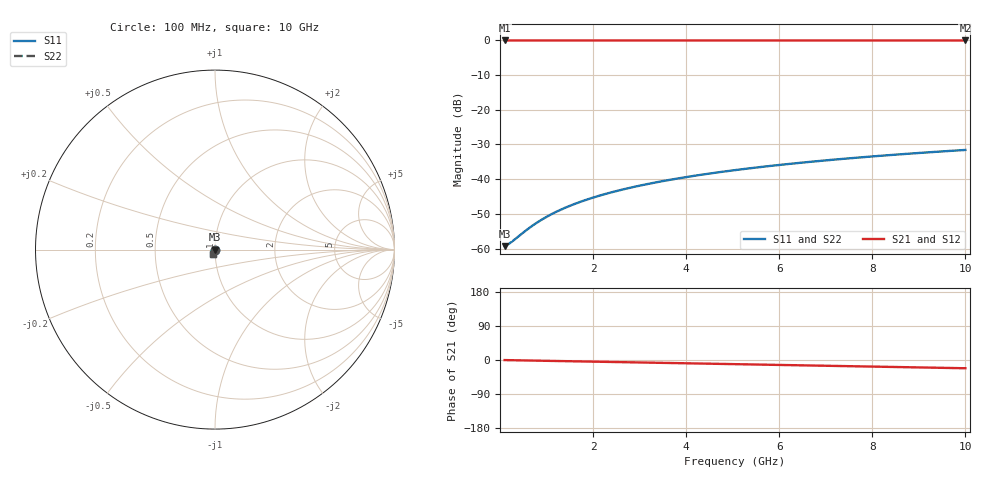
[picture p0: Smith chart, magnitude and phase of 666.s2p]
# Hz S RI R 50.00
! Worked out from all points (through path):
!   100 points, 100 MHz to 10 GHz, reference 50 ohm
!   highest |S21| = -0.01 dB at 100 MHz (marker M1); lowest = 0.0 dB at 10 GHz (marker M2)
!   group delay of S21, straight-line fit = 6.05 ps
!   lowest |S11| = -59.3 dB at 100 MHz (marker M3), VSWR 1.00, Z = 50.1 - j0.027 ohm
!   |S11| at or under -10 dB: start of sweep to end of sweep
!   |S22| runs from -59.3 to -31.6 dB; largest |S21 - S12| = 0
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1e8  0.00105 -0.000269  0.9989 -0.00377  0.9989 -0.00377  0.00105 -0.000269
2e8  0.00105 -0.000539  0.9989 -0.00754  0.9989 -0.00754  0.00105 -0.000539
3e8  0.00105 -0.000808  0.9989 -0.0113  0.9989 -0.0113  0.00105 -0.000808
6e8  0.00103 -0.00162  0.9987 -0.0226  0.9987 -0.0226  0.00103 -0.00162
7e8  0.00101 -0.00189  0.9986 -0.0264  0.9986 -0.0264  0.00101 -0.00189
8e8  0.001 -0.00215  0.9984 -0.0302  0.9984 -0.0302  0.001 -0.00215
1e9  0.000965 -0.00269  0.9982 -0.0377  0.9982 -0.0377  0.000965 -0.00269
1.2e9  0.000921 -0.00323  0.9979 -0.0452  0.9979 -0.0452  0.000921 -0.00323
1.4e9  0.000869 -0.00377  0.9975 -0.0528  0.9975 -0.0528  0.000869 -0.00377
1.6e9  0.000808 -0.00431  0.997 -0.0603  0.997 -0.0603  0.000808 -0.00431
1.8e9  0.000739 -0.00485  0.9965 -0.0679  0.9965 -0.0679  0.000739 -0.00485
2.1e9  0.00062 -0.00565  0.9957 -0.0792  0.9957 -0.0792  0.00062 -0.00565
2.5e9  0.000432 -0.00672  0.9944 -0.0942  0.9944 -0.0942  0.000432 -0.00672
2.9e9  0.000211 -0.00779  0.9928 -0.1092  0.9928 -0.1092  0.000211 -0.00779
3.4e9  -0.000111 -0.00912  0.9905 -0.128  0.9905 -0.128  -0.000111 -0.00912
4.2e9  -0.000731 -0.0112  0.9861 -0.158  0.9861 -0.158  -0.000731 -0.0112
5.1e9  -0.00158 -0.0135  0.9801 -0.1916  0.9801 -0.1916  -0.00158 -0.0135
5.9e9  -0.00247 -0.0156  0.9738 -0.2213  0.9738 -0.2213  -0.00247 -0.0156
6.7e9  -0.00348 -0.0175  0.9665 -0.2508  0.9665 -0.2508  -0.00348 -0.0175
7.5e9  -0.00461 -0.0194  0.9584 -0.2802  0.9584 -0.2802  -0.00461 -0.0194
8.4e9  -0.00602 -0.0215  0.9481 -0.3129  0.9481 -0.3129  -0.00602 -0.0215
1e10  -0.00885 -0.0249  0.927 -0.3703  0.927 -0.3703  -0.00885 -0.0249
